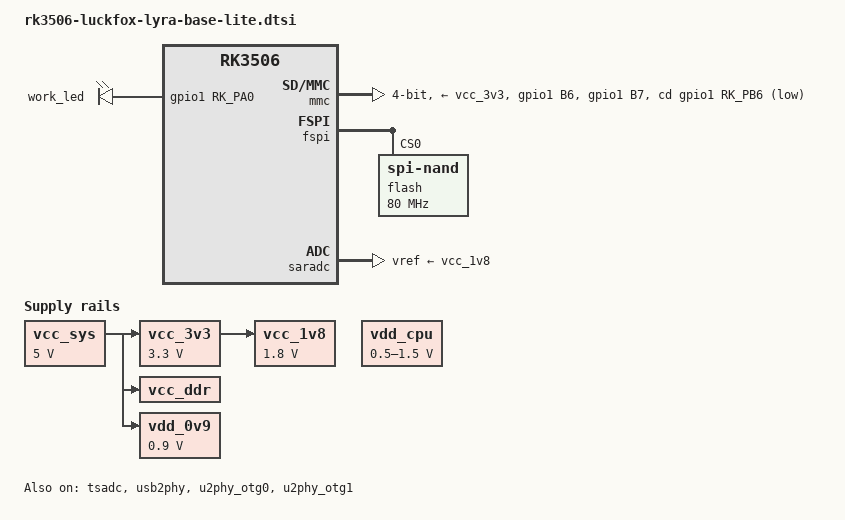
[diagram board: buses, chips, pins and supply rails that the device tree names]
// SPDX-License-Identifier: (GPL-2.0+ OR MIT)
/*
 * Luckfox Lyra Base Lite - Headless configuration
 * No display, no audio, no touchpanel - maximum RAM available
 */

/dts-v1/;

#include <dt-bindings/pinctrl/rockchip.h>
#include <dt-bindings/input/rk-input.h>
#include <dt-bindings/suspend/rockchip-rk3506.h>
#include "rk3506.dtsi"

/ {
	adc_keys: adc-keys {
		compatible = "adc-keys";
		io-channels = <&saradc 1>;
		io-channel-names = "buttons";
		keyup-threshold-microvolt = <1800000>;
		poll-interval = <100>;
	};

	fiq_debugger: fiq-debugger {
		compatible = "rockchip,fiq-debugger";
		rockchip,serial-id = <0>;
		rockchip,wake-irq = <0>;
		rockchip,irq-mode-enable = <1>;
		rockchip,baudrate = <1500000>;
		interrupts = <GIC_SPI 115 IRQ_TYPE_LEVEL_HIGH>;
	};

	leds: leds {
		compatible = "gpio-leds";
		work_led: work-led {
			gpios = <&gpio1 RK_PA0 GPIO_ACTIVE_HIGH>;
			linux,default-trigger = "heartbeat";
		};
	};

	vcc_sys: vcc-sys {
		compatible = "regulator-fixed";
		regulator-name = "vcc_sys";
		regulator-always-on;
		regulator-boot-on;
		regulator-min-microvolt = <5000000>;
		regulator-max-microvolt = <5000000>;
	};

	vcc_3v3: vcc-3v3 {
		compatible = "regulator-fixed";
		regulator-name = "vcc_3v3";
		regulator-always-on;
		regulator-boot-on;
		regulator-min-microvolt = <3300000>;
		regulator-max-microvolt = <3300000>;
		vin-supply = <&vcc_sys>;
	};

	vcc_1v8: vcc-1v8 {
		compatible = "regulator-fixed";
		regulator-name = "vcc_1v8";
		regulator-always-on;
		regulator-boot-on;
		regulator-min-microvolt = <1800000>;
		regulator-max-microvolt = <1800000>;
		vin-supply = <&vcc_3v3>;
	};

	vcc_ddr: vcc-ddr {
		compatible = "regulator-fixed";
		regulator-name = "vcc_ddr";
		regulator-always-on;
		regulator-boot-on;
		vin-supply = <&vcc_sys>;
	};

	vdd_0v9: vdd-0v9 {
		compatible = "regulator-fixed";
		regulator-name = "vdd_0v9";
		regulator-always-on;
		regulator-boot-on;
		regulator-min-microvolt = <900000>;
		regulator-max-microvolt = <900000>;
		vin-supply = <&vcc_sys>;
	};

	vdd_cpu: vdd-cpu {
		compatible = "regulator-fixed";
		regulator-name = "vdd_cpu";
		regulator-boot-on;
		regulator-always-on;
		regulator-min-microvolt = <500000>;
		regulator-max-microvolt = <1500000>;
		vin-supply = <&vdd_cpu>;
	};
};

/**********cpu**********/
&cpu0 {
	cpu-supply = <&vdd_cpu>;
	status = "okay";
};

/**********display - disabled**********/
&cma {
	size = <0x0>;
};

&display_subsystem {
	status = "disabled";
};

&vop {
	status = "disabled";
};

&rga2 {
	status = "disabled";
};

&dsi {
	status = "disabled";
};

&dsi_dphy {
	status = "disabled";
};

/**********media**********/
&mmc {
	max-frequency = <52000000>;
	bus-width = <4>;
	no-sdio;
	no-mmc;
	cap-mmc-highspeed;
	cap-sd-highspeed;
	cd-gpios = <&gpio1 RK_PB6 GPIO_ACTIVE_LOW>;
	disable-wp;
	pinctrl-names = "default";
	pinctrl-0 = <&sdmmc_clk_pins &sdmmc_cmd_pins &sdmmc_bus4_pins &sdmmc_det &sdmmc_pwren>;
	vqmmc-supply = <&vcc_3v3>;
	vmmc-supply = <&vcc_3v3>;
	status = "okay";
};

&fspi {
	status = "okay";

	flash@0 {
		compatible = "spi-nand";
		reg = <0>;
		spi-max-frequency = <80000000>;
		spi-rx-bus-width = <4>;
		spi-tx-bus-width = <1>;
	};
};

/**********adc**********/
&saradc {
	vref-supply = <&vcc_1v8>;
	status = "okay";
};

&tsadc {
	pinctrl-names = "gpio", "otpout";
	pinctrl-0 = <&wdt_tsadc_gpio>;
	pinctrl-1 = <&rm_io21_wdt_tsadc_shut>;
	status = "okay";
};

/**********usb**********/
&usb2phy {
	status = "okay";
};

&u2phy_otg0 {
	status = "okay";
};

&u2phy_otg1 {
	status = "okay";
};

/**********pinctrl**********/
&pinctrl {
	sdmmc {
		/omit-if-no-ref/
		sdmmc_pwren: sdmmc-pwren {
			rockchip,pins = <1 RK_PB7 RK_FUNC_GPIO &pcfg_pull_down>;
		};

		sdmmc_det: sdmmc-det {
			rockchip,pins = <1 RK_PB6 RK_FUNC_GPIO &pcfg_pull_up>;
		};
	};

	tsadc {
		wdt_tsadc_gpio: wdt-tsadc-gpio {
			rockchip,pins = <0 RK_PC5 RK_FUNC_GPIO &pcfg_pull_none>;
		};
	};
};
